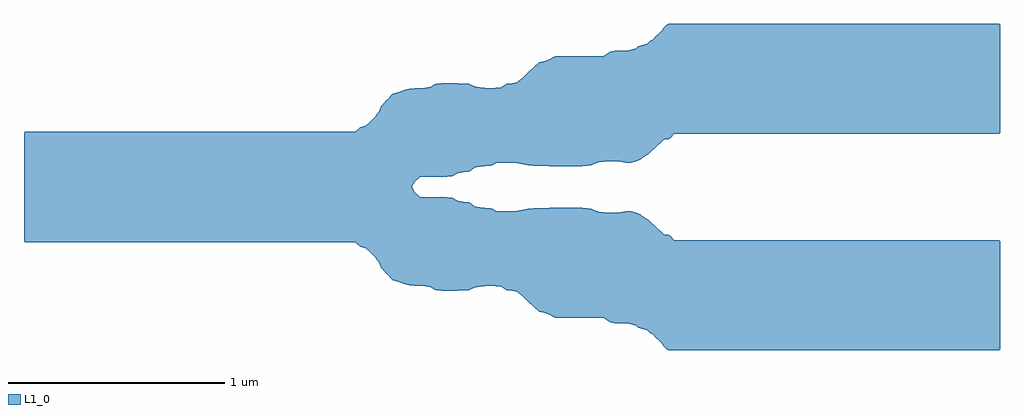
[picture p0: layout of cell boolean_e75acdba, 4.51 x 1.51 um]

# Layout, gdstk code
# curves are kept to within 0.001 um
import gdstk
lib = gdstk.Library(unit=1e-6, precision=1e-09)
def P(c, l, *ps):  # polygons
    for p in ps: c.add(gdstk.Polygon(p, *l))
L1_0 = (1, 0)

boolean_e75acdba = lib.new_cell('boolean_e75acdba')
P(boolean_e75acdba, L1_0, [(1.471,-0.755),(1.471,-0.245),(2.296,-0.245),(2.3,-0.25),(2.3,-0.75),(2.296,-0.755)],
  [(1.471,0.245),(1.471,0.755),(2.296,0.755),(2.3,0.75),(2.3,0.25),(2.296,0.245)],
  [(0.771,-0.755),(0.76,-0.75),(0.746,-0.736),(0.741,-0.725),(0.696,-0.681),(0.685,-0.675),(0.671,-0.661),(0.63,-0.65),(0.621,-0.641),(0.596,-0.634),(0.571,-0.63),(0.521,-0.63),(0.499,-0.625),(0.496,-0.622),(0.496,-0.118),(0.521,-0.118),(0.546,-0.116),(0.571,-0.111),(0.596,-0.111),(0.621,-0.118),(0.639,-0.125),(0.646,-0.132),(0.671,-0.148),(0.746,-0.218),(0.771,-0.22),(0.796,-0.245),(1.471,-0.245),(1.471,-0.755)],
  [(0.571,0.111),(0.546,0.116),(0.496,0.118),(0.496,0.622),(0.499,0.625),(0.521,0.63),(0.571,0.63),(0.596,0.634),(0.621,0.641),(0.63,0.65),(0.671,0.661),(0.685,0.675),(0.696,0.681),(0.721,0.705),(0.741,0.725),(0.746,0.736),(0.76,0.75),(0.771,0.755),(1.471,0.755),(1.471,0.245),(0.796,0.245),(0.771,0.22),(0.746,0.218),(0.671,0.148),(0.646,0.132),(0.639,0.125),(0.621,0.118),(0.596,0.111)],
  [(0.496,-0.622),(0.471,-0.606),(0.246,-0.604),(0.234,-0.6),(0.221,-0.589),(0.196,-0.581),(0.171,-0.577),(0.096,-0.505),(0.071,-0.483),(0.021,-0.477),(0.016,-0.475),(-0.004,-0.461),(-0.029,-0.458),(-0.079,-0.458),(-0.104,-0.46),(-0.129,-0.465),(-0.149,-0.475),(-0.154,-0.476),(-0.254,-0.48),(-0.304,-0.477),(-0.311,-0.475),(-0.329,-0.464),(-0.354,-0.458),(-0.429,-0.453),(-0.448,-0.45),(-0.448,0.45),(-0.429,0.453),(-0.354,0.458),(-0.329,0.464),(-0.311,0.475),(-0.304,0.477),(-0.254,0.48),(-0.154,0.476),(-0.149,0.475),(-0.129,0.465),(-0.104,0.46),(-0.079,0.458),(-0.054,0.457),(-0.004,0.461),(0.016,0.475),(0.021,0.477),(0.071,0.483),(0.096,0.505),(0.171,0.577),(0.196,0.581),(0.221,0.589),(0.234,0.6),(0.246,0.604),(0.471,0.606),(0.496,0.622),(0.496,0.118),(0.446,0.114),(0.421,0.105),(0.413,0.1),(0.371,0.095),(0.246,0.095),(0.146,0.098),(0.119,0.1),(0.096,0.106),(0.071,0.11),(0.021,0.113),(-0.029,0.109),(-0.044,0.1),(-0.079,0.095),(-0.104,0.094),(-0.129,0.088),(-0.144,0.075),(-0.154,0.071),(-0.179,0.069),(-0.204,0.064),(-0.229,0.05),(-0.254,0.047),(-0.279,0.046),(-0.329,0.048),(-0.379,0.044),(-0.404,0.024),(-0.418,0),(-0.404,-0.024),(-0.379,-0.044),(-0.354,-0.047),(-0.329,-0.048),(-0.279,-0.046),(-0.229,-0.05),(-0.204,-0.064),(-0.179,-0.069),(-0.154,-0.071),(-0.144,-0.075),(-0.129,-0.088),(-0.104,-0.094),(-0.079,-0.095),(-0.044,-0.1),(-0.029,-0.109),(0.021,-0.113),(0.071,-0.11),(0.096,-0.106),(0.119,-0.1),(0.146,-0.098),(0.246,-0.095),(0.371,-0.095),(0.413,-0.1),(0.421,-0.105),(0.446,-0.114),(0.496,-0.118)],
  [(-0.448,-0.45),(-0.454,-0.446),(-0.504,-0.431),(-0.557,-0.375),(-0.566,-0.35),(-0.579,-0.337),(-0.586,-0.325),(-0.629,-0.282),(-0.654,-0.276),(-0.679,-0.255),(-2.204,-0.255),(-2.208,-0.25),(-2.208,0.25),(-2.204,0.255),(-0.679,0.255),(-0.654,0.276),(-0.629,0.282),(-0.586,0.325),(-0.579,0.337),(-0.566,0.35),(-0.557,0.375),(-0.504,0.431),(-0.454,0.446),(-0.448,0.45)])

lib.write_gds('boolean_e75acdba.gds')
